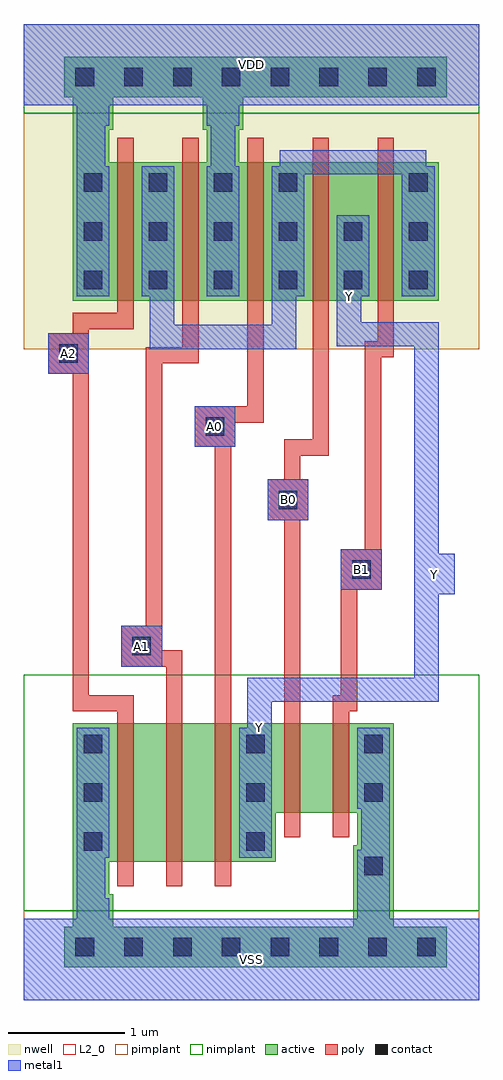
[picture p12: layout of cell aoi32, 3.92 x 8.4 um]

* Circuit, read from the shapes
.subckt aoi32 A0 A1 A2 B0 B1 VDD VSS Y
M1 n1 A2 VSS VSS nfet w=1.19u l=0.14u
M2 n2 A1 n1 VSS nfet w=1.19u l=0.14u
M3 Y A0 n2 VSS nfet w=1.19u l=0.14u
M4 n3 B0 Y VSS nfet w=0.77u l=0.14u
M5 VSS B1 n3 VSS nfet w=0.77u l=0.14u
M6 n4 A2 VDD VDD pfet w=1.19u l=0.14u
M7 VDD A1 n4 VDD pfet w=1.19u l=0.14u
M8 n4 A0 VDD VDD pfet w=1.19u l=0.14u
M9 Y B0 n4 VDD pfet w=1.19u l=0.14u
M10 n4 B1 Y VDD pfet w=1.19u l=0.14u
.ends

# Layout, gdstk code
import gdstk
lib = gdstk.Library(unit=1e-6, precision=1e-09)
def R(c, l, rs):  # rectangles x0, y0, x1, y1
    for r in rs: c.add(gdstk.rectangle(r[:2], r[2:], *l))
def A(c, l, x, y, w, h, nx, ny, dx, dy):  # array of equal rectangles
    R(c, l, [(x+i*dx, y+j*dy, x+i*dx+w, y+j*dy+h) for i in range(nx) for j in range(ny)])
def P(c, l, *ps):  # polygons
    for p in ps: c.add(gdstk.Polygon(p, *l))
L2_0 = (2, 0)
nwell = (3, 0)
active = (6, 0)
poly = (17, 0)
pimplant = (25, 0)
nimplant = (26, 0)
contact = (30, 0)
metal1 = (31, 0)

adk_poly_m1 = lib.new_cell('ADK_poly_m1')
R(adk_poly_m1, poly, [(-0.175,-0.175,0.175,0.175)])
R(adk_poly_m1, contact, [(-0.08,-0.08,0.08,0.08)])
R(adk_poly_m1, metal1, [(-0.175,-0.175,0.175,0.175)])

aoi32 = lib.new_cell('aoi32')
R(aoi32, L2_0, [(0,0,3.92,2.8)])
R(aoi32, nwell, [(0,5.6,3.92,7.63), (0,5.6,3.92,8.4)])
R(aoi32, active, [(0.35,0.28,3.64,0.63), (0.42,0.63,0.77,0.91), (2.835,0.63,3.185,1.33), (0.42,0.91,0.735,1.19), (0.42,1.19,0.805,2.38), (2.87,1.33,3.185,1.61), (2.8,1.61,3.185,2.38), (0.42,6.02,0.805,7.21), (0.42,6.02,3.57,7.21), (3.185,6.02,3.57,7.21), (0.42,7.21,0.735,7.49), (1.575,7.21,1.855,7.49), (0.42,7.49,0.77,7.77), (1.54,7.49,1.89,7.77), (0.35,7.77,3.64,8.12)])
P(aoi32, active, [(2.17,1.19),(2.17,1.61),(3.185,1.61),(3.185,2.38),(0.42,2.38),(0.42,1.19)])
A(aoi32, poly, 0.805, 0.98, 0.14, 0.21, 3, 2, 0.42, 1.4)
A(aoi32, poly, 0.805, 1.19, 0.14, 1.19, 3, 1, 0.42, 0)
A(aoi32, poly, 0.805, 5.81, 0.14, 0.21, 5, 2, 0.56, 1.4)
A(aoi32, poly, 0.805, 6.02, 0.14, 1.19, 5, 1, 0.56, 0)
R(aoi32, poly, [(2.24,1.4,2.38,1.61), (2.66,1.4,2.8,1.61), (2.24,1.61,2.38,2.38), (2.66,1.61,2.8,2.38), (2.24,2.38,2.38,2.59), (2.66,2.38,2.8,2.59)])
P(aoi32, poly, [(1.05,2.87),(1.225,2.87),(1.225,2.45),(1.365,2.45),(1.365,3.01),(1.19,3.01),(1.19,5.48),(1.505,5.48),(1.505,5.845),(1.365,5.845),(1.365,5.62),(1.05,5.62)])
R(aoi32, pimplant, [(0,0,3.92,0.77), (0,5.6,3.92,7.63)])
R(aoi32, nimplant, [(0,0.77,3.92,2.8), (0,7.63,3.92,8.4)])
A(aoi32, contact, 0.445, 0.375, 0.16, 0.16, 8, 2, 0.42, 7.49)
A(aoi32, contact, 0.515, 1.285, 0.16, 0.16, 1, 3, 0, 0.42)
A(aoi32, contact, 1.915, 1.285, 0.16, 0.16, 1, 3, 0, 0.42)
A(aoi32, contact, 0.515, 6.115, 0.16, 0.16, 6, 2, 0.56, 0.42)
A(aoi32, contact, 0.515, 6.955, 0.16, 0.16, 4, 1, 0.56, 0)
R(aoi32, contact, [(2.93,1.075,3.09,1.235), (2.93,1.705,3.09,1.865), (2.93,2.125,3.09,2.285), (3.315,6.955,3.475,7.115)])
A(aoi32, metal1, 0.455, 6.055, 0.28, 1.12, 4, 1, 0.56, 0)
R(aoi32, metal1, [(0,0,3.92,0.7), (0.455,0.7,0.735,0.875), (2.87,0.7,3.15,1.295), (0.455,0.875,0.7,1.225), (0.455,1.225,0.735,2.345), (1.855,1.225,2.135,2.345), (2.905,1.295,3.15,1.645), (2.87,1.645,3.15,2.345), (0.84,2.87,1.19,3.22), (3.36,3.49,3.71,3.84), (3.36,3.49,3.71,3.84), (2.73,3.53,3.08,3.88), (2.1,4.13,2.45,4.48), (1.47,4.76,1.82,5.11), (0.21,5.39,0.56,5.74), (2.695,6.055,2.975,6.755), (3.255,6.055,3.535,7.175), (0.455,7.175,0.7,7.525), (1.61,7.175,1.82,7.525), (0.455,7.525,0.735,7.7), (1.575,7.525,1.855,7.7), (0,7.7,3.92,8.4)])
aoi32.add(gdstk.FlexPath([(3.36,7.175),(3.36,7.21),(2.31,7.21),(2.31,7.175)], 0.21, ends="flush", simple_path=True, layer=31, datatype=0))  # metal1
aoi32.add(gdstk.FlexPath([(2.24,6.055),(2.24,5.705),(1.19,5.705),(1.19,6.055)], 0.21, ends="flush", simple_path=True, layer=31, datatype=0))  # metal1
aoi32.add(gdstk.FlexPath([(2.8,6.055),(2.8,5.73),(3.465,5.73),(3.465,3.84)], 0.21, ends="flush", simple_path=True, layer=31, datatype=0))  # metal1
aoi32.add(gdstk.FlexPath([(2.03,2.345),(2.03,2.67),(3.465,2.67),(3.465,3.49)], 0.21, ends="flush", simple_path=True, layer=31, datatype=0))  # metal1
aoi32.add(gdstk.FlexPath([(2.8,3.53),(2.8,2.555),(2.66,2.555)], 0.14, ends="flush", simple_path=True, layer=17, datatype=0))  # poly
aoi32.add(gdstk.FlexPath([(1.995,5.845),(1.995,5.04),(1.715,5.04),(1.715,2.555)], 0.14, ends="flush", simple_path=True, layer=17, datatype=0))  # poly
aoi32.add(gdstk.FlexPath([(0.945,5.845),(0.49,5.845),(0.49,5.74)], 0.14, ends="flush", simple_path=True, layer=17, datatype=0))  # poly
aoi32.add(gdstk.FlexPath([(2.555,5.845),(2.555,4.755),(2.31,4.755),(2.31,4.48)], 0.14, ends="flush", simple_path=True, layer=17, datatype=0))  # poly
aoi32.add(gdstk.FlexPath([(0.49,5.39),(0.49,2.555),(0.945,2.555)], 0.14, ends="flush", simple_path=True, layer=17, datatype=0))  # poly
aoi32.add(gdstk.FlexPath([(3.115,5.845),(3.115,5.6),(3.005,5.6),(3.005,3.74)], 0.14, ends="flush", simple_path=True, layer=17, datatype=0))  # poly
aoi32.add(gdstk.FlexPath([(2.31,2.555),(2.31,4.13)], 0.14, ends="flush", simple_path=True, layer=17, datatype=0))  # poly
aoi32.add(gdstk.Reference(adk_poly_m1, (2.905,3.705)))
aoi32.add(gdstk.Reference(adk_poly_m1, (1.015,3.045)))
aoi32.add(gdstk.Reference(adk_poly_m1, (0.385,5.565)))
aoi32.add(gdstk.Reference(adk_poly_m1, (1.645,4.935)))
aoi32.add(gdstk.Reference(adk_poly_m1, (2.275,4.305)))
aoi32.add(gdstk.Label('VSS', (1.96,0.35), layer=131, texttype=0))
aoi32.add(gdstk.Label('VDD', (1.96,8.05), layer=131, texttype=0))
aoi32.add(gdstk.Label('A1', (1.015,3.045), layer=131, texttype=0))
aoi32.add(gdstk.Label('A0', (1.645,4.935), layer=131, texttype=0))
aoi32.add(gdstk.Label('B1', (2.905,3.705), layer=131, texttype=0))
aoi32.add(gdstk.Label('Y', (3.535,3.665), layer=131, texttype=0))
aoi32.add(gdstk.Label('A2', (0.385,5.565), layer=131, texttype=0))
aoi32.add(gdstk.Label('B0', (2.275,4.305), layer=131, texttype=0))
aoi32.add(gdstk.Label('VSS', (1.96,0.35), layer=31, texttype=0))
aoi32.add(gdstk.Label('VDD', (1.96,8.05), layer=31, texttype=0))
aoi32.add(gdstk.Label('A0', (1.645,4.935), layer=31, texttype=0))
aoi32.add(gdstk.Label('B0', (2.275,4.305), layer=31, texttype=0))
aoi32.add(gdstk.Label('B1', (2.905,3.705), layer=31, texttype=0))
aoi32.add(gdstk.Label('A2', (0.385,5.565), layer=31, texttype=0))
aoi32.add(gdstk.Label('A1', (1.015,3.045), layer=31, texttype=0))
aoi32.add(gdstk.Label('Y', (3.535,3.665), layer=31, texttype=0))
aoi32.add(gdstk.Label('Y', (2.8,6.055), layer=31, texttype=0))
aoi32.add(gdstk.Label('Y', (2.03,2.345), layer=31, texttype=0))

lib.write_gds('aoi32.gds')
